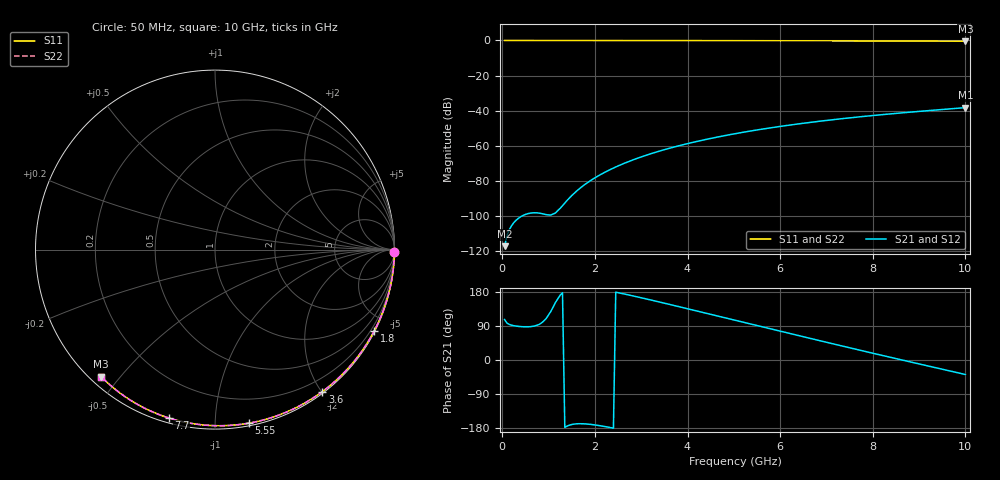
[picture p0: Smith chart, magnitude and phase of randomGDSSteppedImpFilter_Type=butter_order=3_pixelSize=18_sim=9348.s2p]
! freq	dB(S11)	phase(S11)	dB(S12)	phase(S12)
!  dB(S21)	phase(S21)	dB(S22)	phase(S22)
!S-par simulation data
#  GHz  S  DB  R 50
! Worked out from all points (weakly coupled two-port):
!   200 points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, 50 MHz to 10 GHz, reference 50 ohm
!   highest |S21| = -38.26 dB at 10 GHz (marker M1); lowest = -117.2 dB at 50 MHz (marker M2)
!   lowest |S11| = -0.4 dB at 10 GHz (marker M3), VSWR 39.18, Z = 1.53 - j22.3 ohm
!   |S11| at or under -10 dB: nowhere
!   |S22| runs from -0.4 to 0.0 dB; largest |S21 - S12| = 0
!   S11 on the Smith chart (normalised r, x): 50 MHz: open; 1.8 GHz: 0.04, -4.16; 3.6 GHz: 0.02, -2.01; 5.55 GHz: 0.02, -1.21; 7.7 GHz: 0.02, -0.76; 10 GHz: 0.03, -0.45
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0.05  -0.00 -0.8  -117.18 106.8  -117.18 106.8  -0.00 -0.8
0.45  -0.01 -6.9  -99.65 87.6  -99.65 87.6  -0.01 -6.9
0.9  -0.02 -13.6  -98.94 103.5  -98.94 103.5  -0.02 -13.6
1.75  -0.03 -26.3  -82.69 -168.3  -82.69 -168.3  -0.03 -26.3
1.8  -0.03 -27.0  -81.72 -168.7  -81.72 -168.7  -0.03 -27.0
1.9  -0.04 -28.5  -79.91 -169.8  -79.91 -169.8  -0.04 -28.5
2.05  -0.04 -30.7  -77.46 -172.2  -77.46 -172.2  -0.04 -30.7
2.25  -0.04 -33.6  -74.59 -176.4  -74.59 -176.4  -0.04 -33.6
2.45  -0.05 -36.5  -72.06 178.9  -72.06 178.9  -0.05 -36.5
2.65  -0.05 -39.4  -69.80 173.8  -69.80 173.8  -0.05 -39.4
3  -0.06 -44.4  -66.34 164.2  -66.34 164.2  -0.06 -44.4
3.4  -0.07 -50.1  -62.97 152.8  -62.97 152.8  -0.07 -50.1
3.6  -0.07 -52.9  -61.47 147.0  -61.47 147.0  -0.07 -52.9
4.3  -0.09 -62.5  -56.93 126.4  -56.93 126.4  -0.09 -62.5
5.05  -0.11 -72.5  -53.00 104.2  -53.00 104.2  -0.11 -72.5
5.55  -0.13 -79.0  -50.76 89.4  -50.76 89.4  -0.13 -79.0
6.1  -0.15 -85.9  -48.59 73.2  -48.59 73.2  -0.15 -85.9
6.7  -0.18 -93.4  -46.50 55.5  -46.50 55.5  -0.18 -93.4
7.7  -0.24 -105.4  -43.54 26.5  -43.54 26.5  -0.24 -105.4
8.35  -0.29 -113.0  -41.90 7.9  -41.90 7.9  -0.29 -113.0
9.15  -0.36 -122.3  -40.07 -14.5  -40.07 -14.5  -0.36 -122.3
10  -0.44 -131.9  -38.26 -38.3  -38.26 -38.3  -0.44 -131.9
